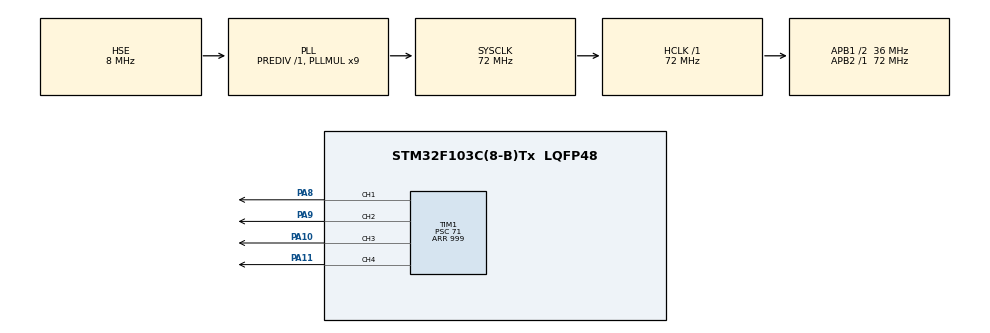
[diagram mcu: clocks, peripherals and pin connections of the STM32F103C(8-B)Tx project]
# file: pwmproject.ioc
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Mcu.Family=STM32F1
Mcu.Name=STM32F103C(8-B)Tx
Mcu.Package=LQFP48
NVIC.PriorityGroup=NVIC_PRIORITYGROUP_4
PA10.Signal=S_TIM1_CH3
PA11.Signal=S_TIM1_CH4
PA13.Mode=Serial_Wire
PA13.Signal=SYS_JTMS-SWDIO
PA14.Mode=Serial_Wire
PA14.Signal=SYS_JTCK-SWCLK
PA8.Signal=S_TIM1_CH1
PA9.Signal=S_TIM1_CH2
PD0-OSC_IN.Mode=HSE-External-Oscillator
PD0-OSC_IN.Signal=RCC_OSC_IN
PD1-OSC_OUT.Mode=HSE-External-Oscillator
PD1-OSC_OUT.Signal=RCC_OSC_OUT
ProjectManager.HeapSize=0x200
ProjectManager.StackSize=0x400
ProjectManager.TargetToolchain=STM32CubeIDE
RCC.AHBFreq_Value=72000000
RCC.APB1CLKDivider=RCC_HCLK_DIV2
RCC.APB1Freq_Value=36000000
RCC.APB1TimFreq_Value=72000000
RCC.APB2Freq_Value=72000000
RCC.APB2TimFreq_Value=72000000
RCC.HCLKFreq_Value=72000000
RCC.PLLMUL=RCC_PLL_MUL9
RCC.PLLSourceVirtual=RCC_PLLSOURCE_HSE
RCC.SYSCLKFreq_VALUE=72000000
RCC.SYSCLKSource=RCC_SYSCLKSOURCE_PLLCLK
RCC.USBFreq_Value=72000000
SH.S_TIM1_CH1.0=TIM1_CH1,PWM Generation1 CH1
SH.S_TIM1_CH2.0=TIM1_CH2,PWM Generation2 CH2
SH.S_TIM1_CH3.0=TIM1_CH3,PWM Generation3 CH3
SH.S_TIM1_CH4.0=TIM1_CH4,PWM Generation4 CH4
TIM1.Channel-PWM\ Generation1\ CH1=TIM_CHANNEL_1
TIM1.Channel-PWM\ Generation2\ CH2=TIM_CHANNEL_2
TIM1.Channel-PWM\ Generation3\ CH3=TIM_CHANNEL_3
TIM1.Channel-PWM\ Generation4\ CH4=TIM_CHANNEL_4
TIM1.Period=999
TIM1.Prescaler=71
VP_TIM1_VS_ClockSourceINT.Mode=Internal
board=custom

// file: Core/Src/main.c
/* USER CODE BEGIN Header */
/**
  **************************************************************************
  * @file           : main.c
  * @brief          : Main program body
  **************************************************************************
  * @attention
  *
  * Copyright (c) 2026 STMicroelectronics.
  * All rights reserved.
  *
  * This software is licensed under terms that can be found in the LICENSE file
  * in the root directory of this software component.
  * If no LICENSE file comes with this software, it is provided AS-IS.
  *
  **************************************************************************
  */
/* USER CODE END Header */
#include "main.h"

TIM_HandleTypeDef htim1;

/* USER CODE BEGIN PV */
#define BASE_PERIOD_MS  1000   // chu kỳ nháy cơ sở (đổi để nháy nhanh/chậm tổng thể)
#define MIN_OFF_TIME_MS 100    // thời gian OFF tối thiểu, đảm bảo kênh duty cao (vd 100%) vẫn thấy chớp tắt rõ
#define PWM_ARR_STEPS   1000   // ARR = 999 -> 1000 bước đếm (0..999)

typedef struct {
    uint32_t channel;
    uint8_t  duty_percent;
    uint32_t lastToggle;
    uint8_t  state;
} PwmBlinkChannel;

PwmBlinkChannel ch1 = {TIM_CHANNEL_1, 25, 0, 0};
PwmBlinkChannel ch2 = {TIM_CHANNEL_2, 50, 0, 0};
PwmBlinkChannel ch3 = {TIM_CHANNEL_3, 75, 0, 0};
PwmBlinkChannel ch4 = {TIM_CHANNEL_4, 100, 0, 0};
/* USER CODE END PV */

void SystemClock_Config(void);
static void MX_GPIO_Init(void);
static void MX_TIM1_Init(void);

/* USER CODE BEGIN 0 */
void Blink_Update(PwmBlinkChannel *ch)
{
    // Giá trị CCR đúng theo % duty riêng của từng kênh (ARR = 999 -> mẫu số 1000)
    // 25%  -> ccrOn = 250
    // 50%  -> ccrOn = 500
    // 75%  -> ccrOn = 750
    // 100% -> ccrOn = 1000 (lớn hơn ARR -> luôn HIGH tuyệt đối)
    uint32_t ccrOn = (PWM_ARR_STEPS * (uint32_t)ch->duty_percent) / 100;

    if (ch->duty_percent == 0)
    {
        __HAL_TIM_SET_COMPARE(&htim1, ch->channel, 0); // luôn tắt
        return;
    }

    // Tất cả các kênh, kể cả 100%, đều nháy ON/OFF theo thời gian riêng.
    // Duty càng cao thì thời gian ON càng dài, thời gian OFF càng ngắn.
    // Ép tối thiểu offTime (MIN_OFF_TIME_MS) để mắt thường vẫn thấy rõ chớp tắt,
    // kể cả với kênh duty 100%.
    uint32_t onTime  = (BASE_PERIOD_MS * ch->duty_percent) / 100;
    uint32_t offTime = BASE_PERIOD_MS - onTime;
    if (offTime < MIN_OFF_TIME_MS) offTime = MIN_OFF_TIME_MS;
    uint32_t now = HAL_GetTick();

    if (ch->state == 1) // đang ON
    {
        if (now - ch->lastToggle >= onTime)
        {
            __HAL_TIM_SET_COMPARE(&htim1, ch->channel, 0); // tắt
            ch->state = 0;
            ch->lastToggle = now;
        }
    }
    else // đang OFF
    {
        if (now - ch->lastToggle >= offTime)
        {
            // Bật đúng mức CCR riêng của kênh này (KHÔNG dùng chung 999 cho mọi kênh)
            __HAL_TIM_SET_COMPARE(&htim1, ch->channel, ccrOn);
            ch->state = 1;
            ch->lastToggle = now;
        }
    }
}
/* USER CODE END 0 */

int main(void)
{

  /* MCU Configuration--------------------------------------------------------*/

  /* Reset of all peripherals, Initializes the Flash interface and the Systick. */
  HAL_Init();

  /* Configure the system clock */
  SystemClock_Config();

  /* Initialize all configured peripherals */
  MX_GPIO_Init();
  MX_TIM1_Init();
  /* USER CODE BEGIN 2 */
  HAL_TIM_PWM_Start(&htim1, TIM_CHANNEL_1);
  HAL_TIM_PWM_Start(&htim1, TIM_CHANNEL_2);
  HAL_TIM_PWM_Start(&htim1, TIM_CHANNEL_3);
  HAL_TIM_PWM_Start(&htim1, TIM_CHANNEL_4);

  /* USER CODE END 2 */

  /* Infinite loop */
  /* USER CODE BEGIN WHILE */
  while (1)
  {
	  Blink_Update(&ch1);
	  Blink_Update(&ch2);
	  Blink_Update(&ch3);
	  Blink_Update(&ch4);
    /* USER CODE END WHILE */

  }
}

void SystemClock_Config(void)
{
  RCC_OscInitTypeDef RCC_OscInitStruct = {0};
  RCC_ClkInitTypeDef RCC_ClkInitStruct = {0};

  /** Initializes the RCC Oscillators according to the specified parameters
  * in the RCC_OscInitTypeDef structure.
  */
  RCC_OscInitStruct.OscillatorType = RCC_OSCILLATORTYPE_HSE;
  RCC_OscInitStruct.HSEState = RCC_HSE_ON;
  RCC_OscInitStruct.HSEPredivValue = RCC_HSE_PREDIV_DIV1;
  RCC_OscInitStruct.HSIState = RCC_HSI_ON;
  RCC_OscInitStruct.PLL.PLLState = RCC_PLL_ON;
  RCC_OscInitStruct.PLL.PLLSource = RCC_PLLSOURCE_HSE;
  RCC_OscInitStruct.PLL.PLLMUL = RCC_PLL_MUL9;
  if (HAL_RCC_OscConfig(&RCC_OscInitStruct) != HAL_OK)
  {
    Error_Handler();
  }

  /** Initializes the CPU, AHB and APB buses clocks
  */
  RCC_ClkInitStruct.ClockType = RCC_CLOCKTYPE_HCLK|RCC_CLOCKTYPE_SYSCLK
                              |RCC_CLOCKTYPE_PCLK1|RCC_CLOCKTYPE_PCLK2;
  RCC_ClkInitStruct.SYSCLKSource = RCC_SYSCLKSOURCE_PLLCLK;
  RCC_ClkInitStruct.AHBCLKDivider = RCC_SYSCLK_DIV1;
  RCC_ClkInitStruct.APB1CLKDivider = RCC_HCLK_DIV2;
  RCC_ClkInitStruct.APB2CLKDivider = RCC_HCLK_DIV1;

  if (HAL_RCC_ClockConfig(&RCC_ClkInitStruct, FLASH_LATENCY_2) != HAL_OK)
  {
    Error_Handler();
  }
}

static void MX_TIM1_Init(void)
{

  TIM_ClockConfigTypeDef sClockSourceConfig = {0};
  TIM_MasterConfigTypeDef sMasterConfig = {0};
  TIM_OC_InitTypeDef sConfigOC = {0};
  TIM_BreakDeadTimeConfigTypeDef sBreakDeadTimeConfig = {0};

  htim1.Instance = TIM1;
  htim1.Init.Prescaler = 71;
  htim1.Init.CounterMode = TIM_COUNTERMODE_UP;
  htim1.Init.Period = 999;
  htim1.Init.ClockDivision = TIM_CLOCKDIVISION_DIV1;
  htim1.Init.RepetitionCounter = 0;
  htim1.Init.AutoReloadPreload = TIM_AUTORELOAD_PRELOAD_DISABLE;
  if (HAL_TIM_Base_Init(&htim1) != HAL_OK)
  {
    Error_Handler();
  }
  sClockSourceConfig.ClockSource = TIM_CLOCKSOURCE_INTERNAL;
  if (HAL_TIM_ConfigClockSource(&htim1, &sClockSourceConfig) != HAL_OK)
  {
    Error_Handler();
  }
  if (HAL_TIM_PWM_Init(&htim1) != HAL_OK)
  {
    Error_Handler();
  }
  sMasterConfig.MasterOutputTrigger = TIM_TRGO_RESET;
  sMasterConfig.MasterSlaveMode = TIM_MASTERSLAVEMODE_DISABLE;
  if (HAL_TIMEx_MasterConfigSynchronization(&htim1, &sMasterConfig) != HAL_OK)
  {
    Error_Handler();
  }
  sConfigOC.OCMode = TIM_OCMODE_PWM1;
  sConfigOC.Pulse = 0;
  sConfigOC.OCPolarity = TIM_OCPOLARITY_HIGH;
  sConfigOC.OCNPolarity = TIM_OCNPOLARITY_HIGH;
  sConfigOC.OCFastMode = TIM_OCFAST_DISABLE;
  sConfigOC.OCIdleState = TIM_OCIDLESTATE_RESET;
  sConfigOC.OCNIdleState = TIM_OCNIDLESTATE_RESET;
  if (HAL_TIM_PWM_ConfigChannel(&htim1, &sConfigOC, TIM_CHANNEL_1) != HAL_OK)
  {
    Error_Handler();
  }
  if (HAL_TIM_PWM_ConfigChannel(&htim1, &sConfigOC, TIM_CHANNEL_2) != HAL_OK)
  {
    Error_Handler();
  }
  if (HAL_TIM_PWM_ConfigChannel(&htim1, &sConfigOC, TIM_CHANNEL_3) != HAL_OK)
  {
    Error_Handler();
  }
  if (HAL_TIM_PWM_ConfigChannel(&htim1, &sConfigOC, TIM_CHANNEL_4) != HAL_OK)
  {
    Error_Handler();
  }
  sBreakDeadTimeConfig.OffStateRunMode = TIM_OSSR_DISABLE;
  sBreakDeadTimeConfig.OffStateIDLEMode = TIM_OSSI_DISABLE;
  sBreakDeadTimeConfig.LockLevel = TIM_LOCKLEVEL_OFF;
  sBreakDeadTimeConfig.DeadTime = 0;
  sBreakDeadTimeConfig.BreakState = TIM_BREAK_DISABLE;
  sBreakDeadTimeConfig.BreakPolarity = TIM_BREAKPOLARITY_HIGH;
  sBreakDeadTimeConfig.AutomaticOutput = TIM_AUTOMATICOUTPUT_DISABLE;
  if (HAL_TIMEx_ConfigBreakDeadTime(&htim1, &sBreakDeadTimeConfig) != HAL_OK)
  {
    Error_Handler();
  }
  HAL_TIM_MspPostInit(&htim1);

}

static void MX_GPIO_Init(void)
{

  /* GPIO Ports Clock Enable */
  __HAL_RCC_GPIOD_CLK_ENABLE();
  __HAL_RCC_GPIOA_CLK_ENABLE();

}

void Error_Handler(void)
{
  __disable_irq();
  while (1)
  {
  }
}
